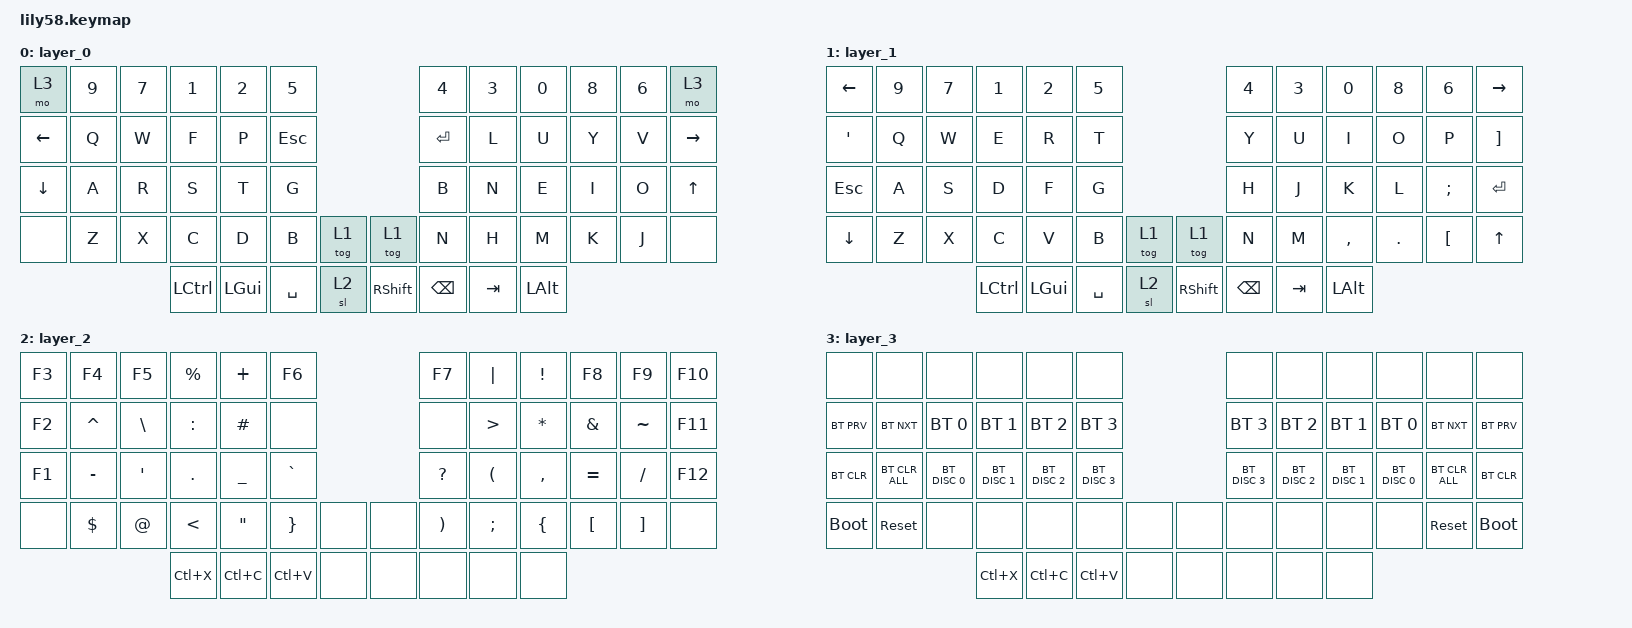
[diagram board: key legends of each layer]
/*
 * Copyright (c) 2020 The ZMK Contributors
 *
 * SPDX-License-Identifier: MIT
 */

#include <behaviors.dtsi>
#include <dt-bindings/zmk/bt.h>
#include <dt-bindings/zmk/keys.h>

/ {
    combos { compatible = "zmk,combos"; };

    behaviors {
        ss_hs_modmorph: ss_hs_modmorph {
            compatible = "zmk,behavior-mod-morph";
            label = "SS_HS_MODMORPH";
            bindings = <&kp M>, <&kp RIGHT_BRACKET>;

            #binding-cells = <0>;
            mods = <(MOD_LSFT|MOD_RSFT)>;
        };

        kh_hs_tapdance: kh_hs_tapdance {
            compatible = "zmk,behavior-tap-dance";
            label = "KH_HS_TAPDANCE";
            #binding-cells = <0>;
            tapping-term-ms = <200>;
            bindings = <&kp LEFT_BRACKET>, <&kp RIGHT_BRACKET>;
        };

        hrm: hrm {
            compatible = "zmk,behavior-hold-tap";
            #binding-cells = <2>;
            flavor = "tap-preferred";
            tapping-term-ms = <200>;
            quick-tap-ms = <200>;
            require-prior-idle-ms = <125>;
            bindings = <&kp>, <&kp>;
        };
    };

    keymap {
        compatible = "zmk,keymap";

        layer_0 {
            // ------------------------------------------------------------------------------------------------------------
            // |  ESC  |  1  |  2  |  3   |  4   |  5   |                   |  6   |  7    |  8    |  9   |   0   |   `   |
            // |  TAB  |  Q  |  W  |  E   |  R   |  T   |                   |  Y   |  U    |  I    |  O   |   P   |   -   |
            // |  CTRL |  A  |  S  |  D   |  F   |  G   |                   |  H   |  J    |  K    |  L   |   ;   |   '   |
            // | SHIFT |  Z  |  X  |  C   |  V   |  B   |   "["  |  |  "]"  |  N   |  M    |  ,    |  .   |   /   | SHIFT |
            //                     | ALT  | GUI  | LOWER|  SPACE |  | ENTER | RAISE| BSPC  | GUI   |

            bindings = <
&mo 3     &kp N9  &kp N7  &kp N1     &kp N2    &kp N5                          &kp N4    &kp N3   &kp N0    &kp N8  &kp N6  &mo 3
&kp LEFT  &kp Q   &kp W   &kp F      &kp P     &kp ESC                         &kp RET   &kp L    &kp U     &kp Y   &kp V   &kp RIGHT
&kp DOWN  &kp A   &kp R   &kp S      &kp T     &kp G                           &kp B     &kp N    &kp E     &kp I   &kp O   &kp UP
&none     &kp Z   &kp X   &kp C      &kp D     &kp B      &tog 1    &tog 1     &kp N     &kp H    &kp M     &kp K   &kp J   &none
                          &kp LCTRL  &kp LGUI  &kp SPACE  &sl 2     &kp RSHFT  &kp BSPC  &kp TAB  &kp LALT
            >;
        };

        layer_1 {
            bindings = <
&kp LEFT  &kp N9  &kp N7  &kp N1     &kp N2    &kp N5                          &kp N4    &kp N3   &kp N0     &kp N8   &kp N6            &kp RIGHT
&kp SQT   &kp Q   &kp W   &kp E      &kp R     &kp T                           &kp Y     &kp U    &kp I      &kp O    &kp P             &kp RIGHT_BRACKET
&kp ESC   &kp A   &kp S   &kp D      &kp F     &kp G                           &kp H     &kp J    &kp K      &kp L    &kp SEMI          &kp ENTER
&kp DOWN  &kp Z   &kp X   &kp C      &kp V     &kp B      &tog 1    &tog 1     &kp N     &kp M    &kp COMMA  &kp DOT  &kp LEFT_BRACKET  &kp UP
                          &kp LCTRL  &kp LGUI  &kp SPACE  &sl 2     &kp RSHFT  &kp BSPC  &kp TAB  &kp LALT
            >;
        };

        layer_2 {
            // ------------------------------------------------------------------------------------------------------------
            // | BTCLR | BT1 | BT2 |  BT3 |  BT4 |  BT5 |                   |      |       |       |      |       |       |
            // |  F1   |  F2 |  F3 |  F4  |  F5  |  F6  |                   |  F7  |  F8   |  F9   |  F10 |  F11  |  F12  |
            // |   `   |  !  |  @  |  #   |  $   |  %   |                   |  ^   |  &    |  *    |  (   |   )   |   ~   |
            // |       |     |     |      |      |      |        |  |       |      |  _    |  +    |  {   |   }   |  "|"  |
            //                     |      |      |      |        |  |       |      |       |       |

            bindings = <
&kp F3  &kp F4      &kp F5       &kp PERCENT    &kp PLUS           &kp F6                           &kp F7                 &kp PIPE              &kp EXCLAMATION  &kp F8         &kp F9     &kp F10
&kp F2  &kp CARET   &kp BSLH     &kp COLON      &kp HASH           &none                            &none                  &kp GREATER_THAN      &kp ASTERISK     &kp AMPERSAND  &kp TILDE  &kp F11
&kp F1  &kp MINUS   &kp SQT      &kp DOT        &kp UNDERSCORE     &kp GRAVE                        &kp QUESTION           &kp LEFT_PARENTHESIS  &kp COMMA        &kp EQUAL      &kp FSLH   &kp F12
&none   &kp DOLLAR  &kp AT_SIGN  &kp LESS_THAN  &kp DOUBLE_QUOTES  &kp RIGHT_BRACE  &none    &none  &kp RIGHT_PARENTHESIS  &kp SEMI              &kp LEFT_BRACE   &kp LBKT       &kp RBKT   &none
                                 &kp LC(X)      &kp LC(C)          &kp LC(V)        &none    &none  &none                  &none                 &none
            >;
        };

        layer_3 {
            // ------------------------------------------------------------------------------------------------------------
            // |       |     |     |      |      |      |                   |      |       |       |      |       |       |
            // |   `   |  1  |  2  |  3   |  4   |  5   |                   |  6   |   7   |   8   |  9   |   0   |       |
            // |   F1  |  F2 |  F3 |  F4  |  F5  |  F6  |                   |      |   <-  |   v   |  ^   |  ->   |       |
            // |   F7  |  F8 |  F9 |  F10 |  F11 |  F12 |        |  |       |  +   |   -   |   =   |  [   |   ]   |   \   |
            //                     |      |      |      |        |  |       |      |       |       |

            bindings = <
&none        &none           &none          &none          &none          &none                          &none          &none          &none          &none          &none           &none
&bt BT_PRV   &bt BT_NXT      &bt BT_SEL 0   &bt BT_SEL 1   &bt BT_SEL 2   &bt BT_SEL 3                   &bt BT_SEL 3   &bt BT_SEL 2   &bt BT_SEL 1   &bt BT_SEL 0   &bt BT_NXT      &bt BT_PRV
&bt BT_CLR   &bt BT_CLR_ALL  &bt BT_DISC 0  &bt BT_DISC 1  &bt BT_DISC 2  &bt BT_DISC 3                  &bt BT_DISC 3  &bt BT_DISC 2  &bt BT_DISC 1  &bt BT_DISC 0  &bt BT_CLR_ALL  &bt BT_CLR
&bootloader  &sys_reset      &none          &none          &none          &none          &none    &none  &none          &none          &none          &none          &sys_reset      &bootloader
                                            &kp LC(X)      &kp LC(C)      &kp LC(V)      &none    &none  &none          &none          &none
            >;
        };
    };
};
